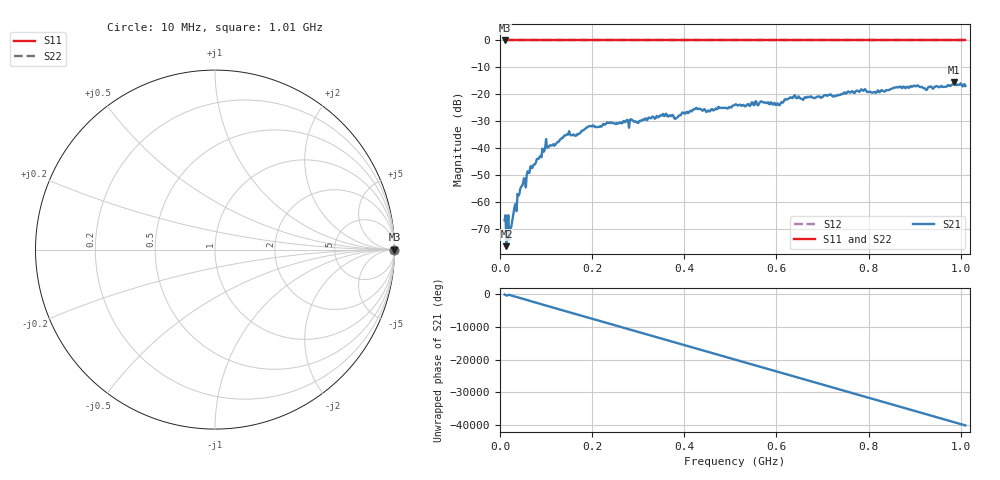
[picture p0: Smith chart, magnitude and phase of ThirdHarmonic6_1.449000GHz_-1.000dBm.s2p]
! 8/16/2025 4:47:49 PM
! C:\ANRITSUVNA\TEMP\TEMP.S2P
! CHANNEL.1
! TR.MEASUREMENT
! RAW.DATA
! RF.CORRECTION.OFF
! AVERAGING.OFF
! IF.BANDWIDTH: 5KHZ
! SWEEPTYPE:  FREQ.SWEEP(Linear)
! Reference Plane Port Info
! PORT:  PORT1  PORT2
! DISTANCE:  0  m  0  m
! TIME:  0  s  0  s
! PHASE.OFFSET:  0  deg.  0  deg.
! LOSS:  0  dB  0  dB
! REF.LOSS:  0  dB  0  dB
! REF.FREQ:  0  Hz  0  Hz
! Power Info
! POWER:  -20  dBm  -20  dBm
! EFF.POWER:  -20  dBm  -20  dBm
! SOURCE.ATTEN:  0  dB  0  dB
! TEST.ATTEN:  0  dB  0  dB
# GHZ S RI R 50.0
! FREQ.GHZ  S11RE  S11IM  S21RE  S21IM  S12RE  S12IM  S22RE  S22IM
!; PortSelection: Port_12
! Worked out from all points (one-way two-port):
!   501 points, 10 MHz to 1.01 GHz, reference 50 ohm
!   highest |S21| = -15.53 dB at 986 MHz (marker M1); lowest = -76.4 dB at 14 MHz (marker M2)
!   lowest |S11| = 0.0 dB at 10 MHz (marker M3)
!   |S11| at or under -10 dB: nowhere
!   |S22| runs from 0.0 to 0.0 dB; largest |S21 - S12| = 1.2
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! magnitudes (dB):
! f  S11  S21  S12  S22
! 10 MHz  0.0  -66.8  0.0  0.0
! 14 MHz  0.0  -76.4  0.0  0.0
! 18 MHz  0.0  -64.9  0.0  0.0
! 24 MHz  0.0  -69.6  0.0  0.0
! 30 MHz  0.0  -63.5  0.0  0.0
! 48 MHz  0.0  -54.0  0.0  0.0
! 96 MHz  0.0  -41.1  0.0  0.0
! 122 MHz  0.0  -38.4  0.0  0.0
! 146 MHz  0.0  -34.8  0.0  0.0
! 178 MHz  0.0  -33.5  0.0  0.0
! 194 MHz  0.0  -31.8  0.0  0.0
! 344 MHz  0.0  -28.5  0.0  0.0
! 382 MHz  0.0  -28.8  0.0  0.0
! 424 MHz  0.0  -25.3  0.0  0.0
! 452 MHz  0.0  -26.0  0.0  0.0
! 510 MHz  0.0  -23.9  0.0  0.0
! 602 MHz  0.0  -23.4  0.0  0.0
! 636 MHz  0.0  -21.2  0.0  0.0
! 678 MHz  0.0  -21.2  0.0  0.0
! 844 MHz  0.0  -18.5  0.0  0.0
! 986 MHz  0.0  -15.5  0.0  0.0
! 1.01 GHz  0.0  -16.9  0.0  0.0
